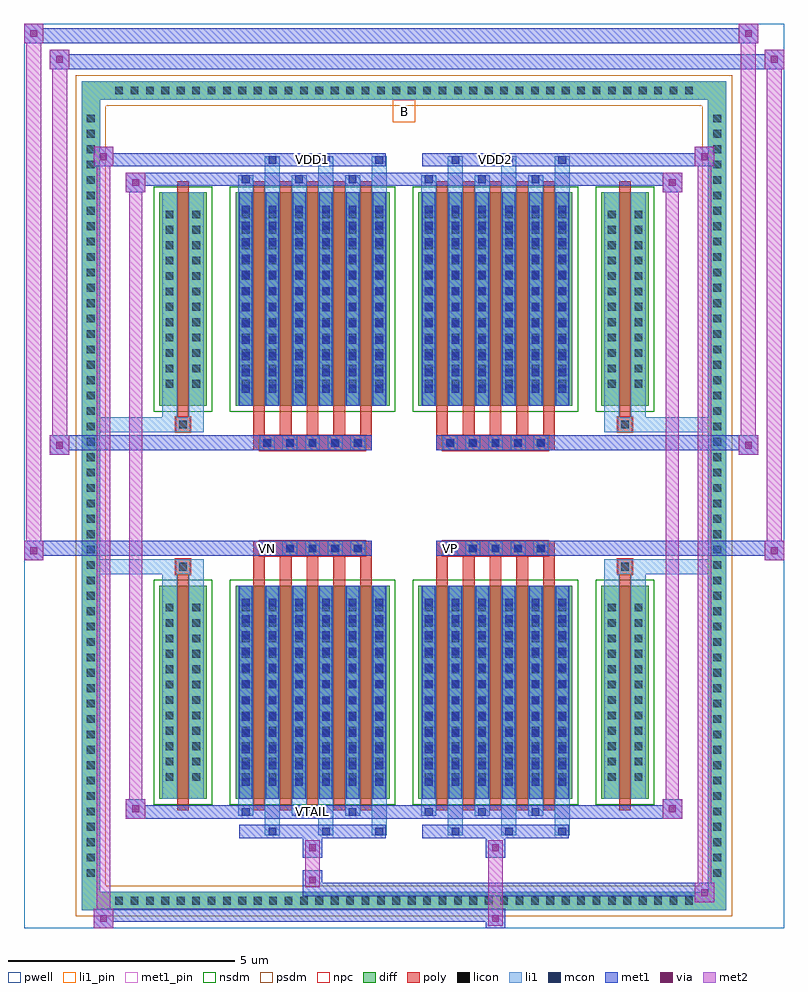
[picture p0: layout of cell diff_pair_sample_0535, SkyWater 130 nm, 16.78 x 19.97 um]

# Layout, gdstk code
import gdstk
lib = gdstk.Library(unit=1e-6, precision=5e-09)
def R(c, l, rs):  # rectangles x0, y0, x1, y1
    for r in rs: c.add(gdstk.rectangle(r[:2], r[2:], *l))
def A(c, l, x, y, w, h, nx, ny, dx, dy):  # array of equal rectangles
    R(c, l, [(x+i*dx, y+j*dy, x+i*dx+w, y+j*dy+h) for i in range(nx) for j in range(ny)])
def P(c, l, *ps):  # polygons
    for p in ps: c.add(gdstk.Polygon(p, *l))
pwell = (64, 44)
diff = (65, 20)
poly = (66, 20)
licon = (66, 44)
li1_pin = (67, 16)
li1 = (67, 20)
mcon = (67, 44)
met1_pin = (68, 16)
met1 = (68, 20)
via = (68, 44)
met2 = (69, 20)
nsdm = (93, 44)
psdm = (94, 20)
npc = (95, 20)

diff_pair_sample_0535 = lib.new_cell('diff_pair_sample_0535')
R(diff_pair_sample_0535, pwell, [(-8.39,-9.55,8.39,10.42), (-5.71,-7.74,-0.01,-0.8), (0.01,-7.74,5.71,-0.8), (-5.71,0.8,-0.01,7.74), (0.01,0.8,5.71,7.74)])
A(diff_pair_sample_0535, diff, -6.495, -9.15, 0.41, 0.41, 38, 2, 0.34, 17.89)
A(diff_pair_sample_0535, diff, -7.12, -8.535, 0.41, 0.41, 1, 50, 0, 0.34)
A(diff_pair_sample_0535, diff, 6.71, -8.535, 0.41, 0.41, 1, 50, 0, 0.34)
R(diff_pair_sample_0535, diff, [(-6.495,-9.15,6.495,-8.74), (-7.12,-8.535,-6.71,8.535), (6.71,-8.535,7.12,8.535), (-5.4,-6.695,-4.36,-1.985), (-3.72,-6.695,-0.32,-1.985), (0.32,-6.695,3.72,-1.985), (4.36,-6.695,5.4,-1.985), (-5.4,1.985,-4.36,6.695), (-3.72,1.985,-0.32,6.695), (0.32,1.985,3.72,6.695), (4.36,1.985,5.4,6.695), (-6.495,8.74,6.495,9.15)])
P(diff_pair_sample_0535, diff, [(7.12,9.15),(-7.12,9.15),(-7.12,-8.74),(-6.71,-8.74),(-6.71,8.74),(6.71,8.74),(6.71,-8.74),(-6.71,-8.74),(-7.12,-8.74),(-7.12,-9.15),(7.12,-9.15)])
A(diff_pair_sample_0535, poly, -3.33, -6.945, 0.26, 5.21, 5, 2, 0.59, 8.68)
A(diff_pair_sample_0535, poly, 0.71, -6.945, 0.26, 5.21, 5, 2, 0.59, 8.68)
A(diff_pair_sample_0535, poly, -3.33, -1.735, 0.26, 0.405, 5, 2, 0.59, 3.065)
A(diff_pair_sample_0535, poly, 0.71, -1.735, 0.26, 0.405, 5, 2, 0.59, 3.065)
A(diff_pair_sample_0535, poly, -3.185, -1.33, 0.33, 0.33, 5, 2, 0.5, 2.33)
A(diff_pair_sample_0535, poly, 0.855, -1.33, 0.33, 0.33, 5, 2, 0.5, 2.33)
R(diff_pair_sample_0535, poly, [(-5.01,-6.945,-4.75,-1.735), (4.75,-6.945,5.01,-1.735), (-5.045,-1.735,-4.715,-1.405), (-5.045,-1.735,-4.715,-1.405), (4.715,-1.735,5.045,-1.405), (4.715,-1.735,5.045,-1.405), (-3.33,-1.33,-0.71,-1), (0.71,-1.33,3.33,-1), (-3.33,1,-0.71,1.33), (0.71,1,3.33,1.33), (-5.045,1.405,-4.715,1.735), (-5.045,1.405,-4.715,1.735), (4.715,1.405,5.045,1.735), (4.715,1.405,5.045,1.735), (-5.01,1.735,-4.75,6.945), (4.75,1.735,5.01,6.945)])
A(diff_pair_sample_0535, licon, -6.375, -9.03, 0.17, 0.17, 38, 2, 0.34, 17.89)
A(diff_pair_sample_0535, licon, -7, -8.415, 0.17, 0.17, 1, 50, 0, 0.34)
A(diff_pair_sample_0535, licon, 6.83, -8.415, 0.17, 0.17, 1, 50, 0, 0.34)
A(diff_pair_sample_0535, licon, -5.26, -6.295, 0.17, 0.17, 1, 12, 0, 0.34)
A(diff_pair_sample_0535, licon, -4.67, -6.295, 0.17, 0.17, 1, 12, 0, 0.34)
A(diff_pair_sample_0535, licon, -3.58, -6.295, 0.17, 0.17, 6, 12, 0.59, 0.34)
A(diff_pair_sample_0535, licon, 0.46, -6.295, 0.17, 0.17, 6, 12, 0.59, 0.34)
A(diff_pair_sample_0535, licon, 4.5, -6.295, 0.17, 0.17, 1, 12, 0, 0.34)
A(diff_pair_sample_0535, licon, 5.09, -6.295, 0.17, 0.17, 1, 12, 0, 0.34)
A(diff_pair_sample_0535, licon, -3.105, -1.25, 0.17, 0.17, 5, 2, 0.5, 2.33)
A(diff_pair_sample_0535, licon, 0.935, -1.25, 0.17, 0.17, 5, 2, 0.5, 2.33)
A(diff_pair_sample_0535, licon, -5.26, 2.385, 0.17, 0.17, 1, 12, 0, 0.34)
A(diff_pair_sample_0535, licon, -4.67, 2.385, 0.17, 0.17, 1, 12, 0, 0.34)
A(diff_pair_sample_0535, licon, -3.58, 2.385, 0.17, 0.17, 6, 12, 0.59, 0.34)
A(diff_pair_sample_0535, licon, 0.46, 2.385, 0.17, 0.17, 6, 12, 0.59, 0.34)
A(diff_pair_sample_0535, licon, 4.5, 2.385, 0.17, 0.17, 1, 12, 0, 0.34)
A(diff_pair_sample_0535, licon, 5.09, 2.385, 0.17, 0.17, 1, 12, 0, 0.34)
R(diff_pair_sample_0535, licon, [(-4.965,-1.655,-4.795,-1.485), (4.795,-1.655,4.965,-1.485), (-4.965,1.485,-4.795,1.655), (4.795,1.485,4.965,1.655)])
R(diff_pair_sample_0535, li1_pin, [(-0.25,8.24,0.25,8.74)])
A(diff_pair_sample_0535, li1, -6.455, -9.11, 0.33, 0.33, 38, 2, 0.34, 17.89)
A(diff_pair_sample_0535, li1, -7.08, -8.495, 0.33, 0.33, 1, 50, 0, 0.34)
A(diff_pair_sample_0535, li1, 6.75, -8.495, 0.33, 0.33, 1, 50, 0, 0.34)
A(diff_pair_sample_0535, li1, -3.07, -7.5, 0.33, 0.805, 3, 2, 1.18, 14.195)
A(diff_pair_sample_0535, li1, -2.99, -7.5, 0.17, 0.17, 3, 2, 1.18, 14.83)
A(diff_pair_sample_0535, li1, 0.97, -7.5, 0.33, 0.805, 3, 2, 1.18, 14.195)
A(diff_pair_sample_0535, li1, 1.05, -7.5, 0.17, 0.17, 3, 2, 1.18, 14.83)
A(diff_pair_sample_0535, li1, -3.66, -7.07, 0.33, 0.375, 3, 2, 1.18, 13.765)
A(diff_pair_sample_0535, li1, -3.58, -7.07, 0.17, 0.17, 3, 2, 1.18, 13.97)
A(diff_pair_sample_0535, li1, 0.38, -7.07, 0.33, 0.375, 3, 2, 1.18, 13.765)
A(diff_pair_sample_0535, li1, 0.46, -7.07, 0.17, 0.17, 3, 2, 1.18, 13.97)
A(diff_pair_sample_0535, li1, -3.66, -6.695, 0.33, 4.71, 6, 2, 0.59, 8.68)
A(diff_pair_sample_0535, li1, 0.38, -6.695, 0.33, 4.71, 6, 2, 0.59, 8.68)
A(diff_pair_sample_0535, li1, -3.58, -6.405, 0.17, 0.17, 6, 12, 0.59, 0.36)
A(diff_pair_sample_0535, li1, -3.58, -6.405, 0.17, 4.13, 6, 2, 0.59, 8.68)
A(diff_pair_sample_0535, li1, 0.46, -6.405, 0.17, 0.17, 6, 12, 0.59, 0.36)
A(diff_pair_sample_0535, li1, 0.46, -6.405, 0.17, 4.13, 6, 2, 0.59, 8.68)
A(diff_pair_sample_0535, li1, -5.34, -6.375, 0.33, 0.33, 1, 12, 0, 0.34)
A(diff_pair_sample_0535, li1, -4.75, -6.375, 0.33, 0.33, 1, 12, 0, 0.34)
A(diff_pair_sample_0535, li1, -3.66, -6.375, 0.33, 0.33, 6, 12, 0.59, 0.34)
A(diff_pair_sample_0535, li1, 0.38, -6.375, 0.33, 0.33, 6, 12, 0.59, 0.34)
A(diff_pair_sample_0535, li1, 4.42, -6.375, 0.33, 0.33, 1, 12, 0, 0.34)
A(diff_pair_sample_0535, li1, 5.01, -6.375, 0.33, 0.33, 1, 12, 0, 0.34)
A(diff_pair_sample_0535, li1, -3.185, -1.33, 0.33, 0.33, 5, 2, 0.5, 2.33)
A(diff_pair_sample_0535, li1, 0.855, -1.33, 0.33, 0.33, 5, 2, 0.5, 2.33)
A(diff_pair_sample_0535, li1, -3.58, 2.275, 0.17, 0.17, 6, 12, 0.59, 0.36)
A(diff_pair_sample_0535, li1, 0.46, 2.275, 0.17, 0.17, 6, 12, 0.59, 0.36)
A(diff_pair_sample_0535, li1, -5.34, 2.305, 0.33, 0.33, 1, 12, 0, 0.34)
A(diff_pair_sample_0535, li1, -4.75, 2.305, 0.33, 0.33, 1, 12, 0, 0.34)
A(diff_pair_sample_0535, li1, -3.66, 2.305, 0.33, 0.33, 6, 12, 0.59, 0.34)
A(diff_pair_sample_0535, li1, 0.38, 2.305, 0.33, 0.33, 6, 12, 0.59, 0.34)
A(diff_pair_sample_0535, li1, 4.42, 2.305, 0.33, 0.33, 1, 12, 0, 0.34)
A(diff_pair_sample_0535, li1, 5.01, 2.305, 0.33, 0.33, 1, 12, 0, 0.34)
R(diff_pair_sample_0535, li1, [(-7.12,-9.15,-6.71,-8.74), (-7.12,-9.15,-6.71,-8.74), (-6.71,-9.15,6.71,-8.74), (6.71,-9.15,7.12,-8.74), (6.71,-9.15,7.12,-8.74), (-7.12,-8.74,-6.71,8.74), (6.71,-8.74,7.12,8.74), (-5.34,-6.695,-5.01,-1.985), (-4.75,-6.695,-4.42,-1.985), (4.42,-6.695,4.75,-1.985), (5.01,-6.695,5.34,-1.985), (-5.34,-1.985,-5.01,-1.405), (-4.75,-1.985,-4.42,-1.405), (4.42,-1.985,4.75,-1.405), (5.01,-1.985,5.34,-1.405), (-7.12,-1.735,-5.045,-1.405), (-5.34,-1.735,-5.045,-1.405), (-5.045,-1.735,-4.715,-1.405), (-4.715,-1.735,-4.42,-1.405), (4.42,-1.735,4.715,-1.405), (4.715,-1.735,5.045,-1.405), (4.715,-1.735,7.12,-1.405), (5.045,-1.735,5.34,-1.405), (-7.12,1.405,-5.045,1.735), (-5.34,1.405,-5.045,1.735), (-5.34,1.405,-5.01,1.985), (-5.045,1.405,-4.715,1.735), (-4.75,1.405,-4.42,1.985), (-4.715,1.405,-4.42,1.735), (4.42,1.405,4.715,1.735), (4.42,1.405,4.75,1.985), (4.715,1.405,5.045,1.735), (4.715,1.405,7.12,1.735), (5.01,1.405,5.34,1.985), (5.045,1.405,5.34,1.735), (-5.34,1.985,-5.01,6.695), (-4.75,1.985,-4.42,6.695), (4.42,1.985,4.75,6.695), (5.01,1.985,5.34,6.695), (-7.12,8.74,-6.71,9.15), (-7.12,8.74,-6.71,9.15), (-6.71,8.74,6.71,9.15), (6.71,8.74,7.12,9.15), (6.71,8.74,7.12,9.15)])
A(diff_pair_sample_0535, mcon, -2.99, -7.5, 0.17, 0.17, 3, 2, 1.18, 14.83)
A(diff_pair_sample_0535, mcon, 1.05, -7.5, 0.17, 0.17, 3, 2, 1.18, 14.83)
A(diff_pair_sample_0535, mcon, -3.58, -7.07, 0.17, 0.17, 3, 2, 1.18, 13.97)
A(diff_pair_sample_0535, mcon, 0.46, -7.07, 0.17, 0.17, 3, 2, 1.18, 13.97)
A(diff_pair_sample_0535, mcon, -3.58, -6.405, 0.17, 0.17, 6, 12, 0.59, 0.36)
A(diff_pair_sample_0535, mcon, 0.46, -6.405, 0.17, 0.17, 6, 12, 0.59, 0.36)
A(diff_pair_sample_0535, mcon, -3.105, -1.25, 0.17, 0.17, 5, 2, 0.5, 2.33)
A(diff_pair_sample_0535, mcon, 0.935, -1.25, 0.17, 0.17, 5, 2, 0.5, 2.33)
A(diff_pair_sample_0535, mcon, -3.58, 2.275, 0.17, 0.17, 6, 12, 0.59, 0.36)
A(diff_pair_sample_0535, mcon, 0.46, 2.275, 0.17, 0.17, 6, 12, 0.59, 0.36)
R(diff_pair_sample_0535, met1_pin, [(-2.155,-7.11,-1.885,-6.84), (-3.155,-1.29,-2.885,-1.02), (0.885,-1.29,1.155,-1.02), (-2.155,7.29,-1.885,7.56), (1.885,7.29,2.155,7.56)])
A(diff_pair_sample_0535, met1, -3.05, -7.56, 0.29, 0.29, 3, 2, 1.18, 14.83)
A(diff_pair_sample_0535, met1, 0.99, -7.56, 0.29, 0.29, 3, 2, 1.18, 14.83)
A(diff_pair_sample_0535, met1, -3.64, -7.13, 0.29, 0.29, 3, 2, 1.18, 13.97)
A(diff_pair_sample_0535, met1, 0.4, -7.13, 0.29, 0.29, 3, 2, 1.18, 13.97)
A(diff_pair_sample_0535, met1, -3.64, -6.695, 0.29, 4.71, 6, 2, 0.59, 8.68)
A(diff_pair_sample_0535, met1, 0.4, -6.695, 0.29, 4.71, 6, 2, 0.59, 8.68)
A(diff_pair_sample_0535, met1, -3.64, -6.465, 0.29, 0.29, 6, 12, 0.59, 0.36)
A(diff_pair_sample_0535, met1, 0.4, -6.465, 0.29, 0.29, 6, 12, 0.59, 0.36)
A(diff_pair_sample_0535, met1, -3.165, -1.31, 0.29, 0.29, 5, 2, 0.5, 2.33)
A(diff_pair_sample_0535, met1, 0.875, -1.31, 0.29, 0.29, 5, 2, 0.5, 2.33)
A(diff_pair_sample_0535, met1, -3.64, 2.215, 0.29, 0.29, 6, 12, 0.59, 0.36)
A(diff_pair_sample_0535, met1, 0.4, 2.215, 0.29, 0.29, 6, 12, 0.59, 0.36)
R(diff_pair_sample_0535, met1, [(-6.85,-9.55,-6.42,-9.12), (1.805,-9.55,2.235,-9.12), (-6.85,-9.41,2.235,-9.12), (6.42,-8.98,6.85,-8.55), (-2.235,-8.84,6.85,-8.55), (-2.235,-8.7,-1.805,-8.27), (-2.235,-7.99,-1.805,-7.56), (1.805,-7.99,2.235,-7.56), (-3.64,-7.56,-0.4,-7.27), (0.4,-7.56,3.64,-7.27), (-6.14,-7.13,-5.71,-6.7), (-6.14,-7.13,-3.64,-6.84), (-3.64,-7.13,-0.4,-6.84), (-0.4,-7.13,0.4,-6.84), (0.4,-7.13,3.64,-6.84), (3.64,-7.13,6.14,-6.84), (5.71,-7.13,6.14,-6.7), (-8.39,-1.43,-7.96,-1), (7.96,-1.43,8.39,-1), (-8.39,-1.33,-0.71,-1), (-3.33,-1.33,-0.71,-1), (0.71,-1.33,3.33,-1), (0.71,-1.33,8.39,-1), (-7.82,0.9,-7.39,1.33), (7.39,0.9,7.82,1.33), (-7.82,1,-3.33,1.33), (-3.33,1,-0.71,1.33), (0.71,1,3.33,1.33), (3.33,1,7.82,1.33), (-6.14,6.7,-5.71,7.13), (5.71,6.7,6.14,7.13), (-6.14,6.84,-3.64,7.13), (-3.64,6.84,-0.4,7.13), (-0.4,6.84,0.4,7.13), (0.4,6.84,3.64,7.13), (3.64,6.84,6.14,7.13), (-6.85,7.27,-6.42,7.7), (-6.85,7.27,-3.64,7.56), (-3.64,7.27,-0.4,7.56), (0.4,7.27,3.64,7.56), (3.64,7.27,6.85,7.56), (6.42,7.27,6.85,7.7), (-7.82,9.42,-7.39,9.85), (-7.82,9.42,-5.71,9.75), (-5.71,9.42,5.71,9.75), (5.71,9.42,8.39,9.75), (7.96,9.42,8.39,9.85), (-8.39,9.99,-7.96,10.42), (-8.39,9.99,-5.71,10.32), (-5.71,9.99,5.71,10.32), (5.71,9.99,7.82,10.32), (7.39,9.99,7.82,10.42)])
R(diff_pair_sample_0535, via, [(-6.71,-9.41,-6.56,-9.26), (1.945,-9.41,2.095,-9.26), (6.56,-8.84,6.71,-8.69), (-2.095,-8.56,-1.945,-8.41), (-2.095,-7.85,-1.945,-7.7), (1.945,-7.85,2.095,-7.7), (-6,-6.99,-5.85,-6.84), (5.85,-6.99,6,-6.84), (-8.25,-1.29,-8.1,-1.14), (8.1,-1.29,8.25,-1.14), (-7.68,1.04,-7.53,1.19), (7.53,1.04,7.68,1.19), (-6,6.84,-5.85,6.99), (5.85,6.84,6,6.99), (-6.71,7.41,-6.56,7.56), (6.56,7.41,6.71,7.56), (-7.68,9.56,-7.53,9.71), (8.1,9.56,8.25,9.71), (-8.25,10.13,-8.1,10.28), (7.53,10.13,7.68,10.28)])
R(diff_pair_sample_0535, met2, [(-6.85,-9.55,-6.42,-9.12), (-6.78,-9.55,-6.49,7.7), (-6.49,-9.55,-6.42,-9.12), (-6.8,-9.5,-6.47,-9.17), (1.855,-9.5,2.185,-9.17), (1.855,-9.17,2.185,-7.94), (6.42,-8.98,6.85,-8.55), (6.49,-8.98,6.78,7.7), (6.78,-8.98,6.85,-8.55), (6.47,-8.93,6.8,-8.6), (-2.185,-8.65,-1.855,-8.32), (-2.185,-8.32,-1.855,-7.94), (-2.185,-7.94,-1.855,-7.61), (1.855,-7.94,2.185,-7.61), (-6.14,-7.13,-5.71,-6.7), (-6.07,-7.13,-5.78,7.13), (-5.78,-7.13,-5.71,-6.7), (5.71,-7.13,6.14,-6.7), (5.78,-7.13,6.07,7.13), (6.07,-7.13,6.14,-6.7), (-6.09,-7.08,-5.76,-6.75), (5.76,-7.08,6.09,-6.75), (-8.39,-1.43,-7.96,-1), (-8.34,-1.43,-8.01,10.42), (-8.01,-1.43,-7.96,-1), (7.96,-1.43,8.39,-1), (8.01,-1.43,8.34,9.85), (8.34,-1.43,8.39,-1), (-8.34,-1.38,-8.01,-1.05), (8.01,-1.38,8.34,-1.05), (-7.82,0.9,-7.39,1.33), (-7.77,0.9,-7.44,9.85), (-7.44,0.9,-7.39,1.33), (7.39,0.9,7.82,1.33), (7.44,0.9,7.77,10.42), (7.77,0.9,7.82,1.33), (-7.77,0.95,-7.44,1.28), (7.44,0.95,7.77,1.28), (-6.14,6.7,-5.71,7.13), (-5.78,6.7,-5.71,7.13), (5.71,6.7,6.14,7.13), (6.07,6.7,6.14,7.13), (-6.09,6.75,-5.76,7.08), (5.76,6.75,6.09,7.08), (-6.85,7.27,-6.42,7.7), (-6.49,7.27,-6.42,7.7), (6.42,7.27,6.85,7.7), (6.78,7.27,6.85,7.7), (-6.8,7.32,-6.47,7.65), (6.47,7.32,6.8,7.65), (-7.82,9.42,-7.39,9.85), (-7.44,9.42,-7.39,9.85), (7.96,9.42,8.39,9.85), (8.34,9.42,8.39,9.85), (-7.77,9.47,-7.44,9.8), (8.01,9.47,8.34,9.8), (-8.39,9.99,-7.96,10.42), (-8.01,9.99,-7.96,10.42), (7.39,9.99,7.82,10.42), (7.77,9.99,7.82,10.42), (-8.34,10.04,-8.01,10.37), (7.44,10.04,7.77,10.37)])
R(diff_pair_sample_0535, nsdm, [(-5.53,-6.825,-4.23,-1.855), (-3.85,-6.825,-0.19,-1.855), (0.19,-6.825,3.85,-1.855), (4.23,-6.825,5.53,-1.855), (-5.53,1.855,-4.23,6.825), (-3.85,1.855,-0.19,6.825), (0.19,1.855,3.85,6.825), (4.23,1.855,5.53,6.825)])
P(diff_pair_sample_0535, psdm, [(7.25,9.28),(-7.25,9.28),(-7.25,-8.61),(-6.58,-8.61),(-6.58,8.61),(6.58,8.61),(6.58,-8.61),(-6.58,-8.61),(-7.25,-8.61),(-7.25,-9.28),(7.25,-9.28)])
A(diff_pair_sample_0535, npc, -3.205, -1.35, 0.37, 0.37, 5, 2, 0.5, 2.33)
A(diff_pair_sample_0535, npc, 0.835, -1.35, 0.37, 0.37, 5, 2, 0.5, 2.33)
R(diff_pair_sample_0535, npc, [(-5.065,-1.755,-4.695,-1.385), (4.695,-1.755,5.065,-1.385), (-3.205,-1.35,-2.335,-0.98), (-3.205,-1.35,-2.335,-0.98), (-2.705,-1.35,-1.835,-0.98), (-2.705,-1.35,-1.835,-0.98), (-2.205,-1.35,-1.335,-0.98), (-2.205,-1.35,-1.335,-0.98), (-1.705,-1.35,-0.835,-0.98), (-1.705,-1.35,-0.835,-0.98), (0.835,-1.35,1.705,-0.98), (0.835,-1.35,1.705,-0.98), (1.335,-1.35,2.205,-0.98), (1.335,-1.35,2.205,-0.98), (1.835,-1.35,2.705,-0.98), (1.835,-1.35,2.705,-0.98), (2.335,-1.35,3.205,-0.98), (2.335,-1.35,3.205,-0.98), (-3.205,0.98,-2.335,1.35), (-3.205,0.98,-2.335,1.35), (-2.705,0.98,-1.835,1.35), (-2.705,0.98,-1.835,1.35), (-2.205,0.98,-1.335,1.35), (-2.205,0.98,-1.335,1.35), (-1.705,0.98,-0.835,1.35), (-1.705,0.98,-0.835,1.35), (0.835,0.98,1.705,1.35), (0.835,0.98,1.705,1.35), (1.335,0.98,2.205,1.35), (1.335,0.98,2.205,1.35), (1.835,0.98,2.705,1.35), (1.835,0.98,2.705,1.35), (2.335,0.98,3.205,1.35), (2.335,0.98,3.205,1.35), (-5.065,1.385,-4.695,1.755), (4.695,1.385,5.065,1.755)])
diff_pair_sample_0535.add(gdstk.Label('VTAIL', (-2.02,-6.975), layer=68, texttype=5))
diff_pair_sample_0535.add(gdstk.Label('VN', (-3.02,-1.155), layer=68, texttype=5))
diff_pair_sample_0535.add(gdstk.Label('VP', (1.02,-1.155), layer=68, texttype=5))
diff_pair_sample_0535.add(gdstk.Label('B', (0,8.49), layer=67, texttype=5))
diff_pair_sample_0535.add(gdstk.Label('VDD2', (2.02,7.425), layer=68, texttype=5))
diff_pair_sample_0535.add(gdstk.Label('VDD1', (-2.02,7.425), layer=68, texttype=5))

lib.write_gds('diff_pair_sample_0535.gds')
